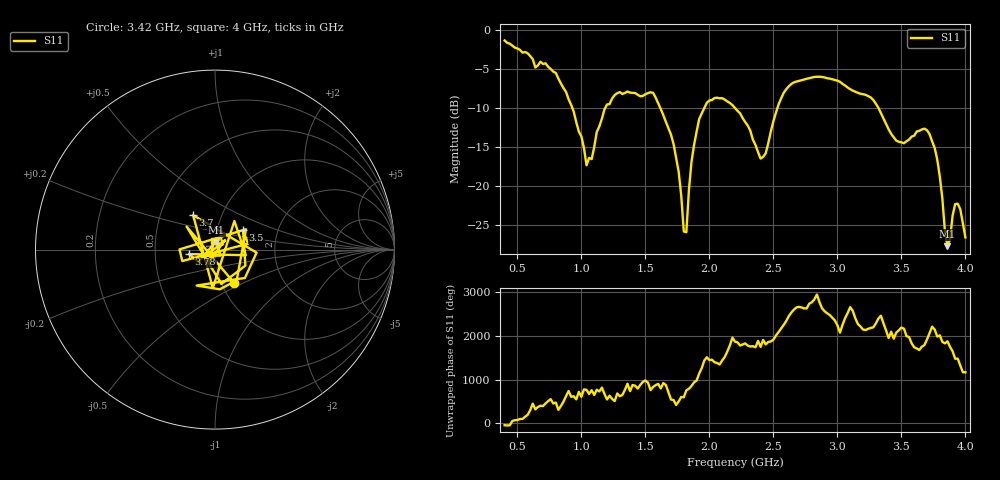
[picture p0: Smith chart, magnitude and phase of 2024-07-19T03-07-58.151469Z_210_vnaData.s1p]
!Created with skrf (http://scikit-rf.org).
# Hz S RI R 50.0
!freq ReS11 ImS11
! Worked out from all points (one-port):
!   181 points, 400 MHz to 4 GHz, reference 50 ohm
!   lowest |S11| = -27.8 dB at 3.86 GHz (marker M1), VSWR 1.09, Z = 50.6 + j4.08 ohm
!   |S11| at or under -10 dB: 1.616 GHz to 1.961 GHz (345.5 MHz wide, 19.3 % of centre); 2.199 GHz to 2.532 GHz (333.3 MHz wide, 14.1 % of centre); 3.32 GHz to end of sweep (the widest 3 of 4)
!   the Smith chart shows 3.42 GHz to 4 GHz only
!   S11 on the Smith chart (normalised r, x): 3.42 GHz: 1.15, -0.45; 3.5 GHz: 1.33, +0.30; 3.7 GHz: 0.73, +0.30; 3.78 GHz: 0.75, -0.04; 4 GHz: 0.99, +0.09
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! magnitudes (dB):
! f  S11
! 400 MHz  -1.4
! 860 MHz  -7.5
! 1 GHz  -13.7
! 1.04 GHz  -17.4
! 1.18 GHz  -10.2
! 1.3 GHz  -8.0
! 1.56 GHz  -8.1
! 1.7 GHz  -13.5
! 1.76 GHz  -18.2
! 1.8 GHz  -25.9
! 1.82 GHz  -26.0
! 1.86 GHz  -17.0
! 1.92 GHz  -11.4
! 2.04 GHz  -8.7
! 2.2 GHz  -10.0
! 2.4 GHz  -16.5
! 2.56 GHz  -8.8
! 2.66 GHz  -6.7
! 3.1 GHz  -7.6
! 3.28 GHz  -9.0
! 3.42 GHz  -13.3
! 3.5 GHz  -14.4
! 3.56 GHz  -14.1
! 3.7 GHz  -12.9
! 3.78 GHz  -16.6
! 3.86 GHz  -27.8
! 3.92 GHz  -22.4
! 4 GHz  -26.6
